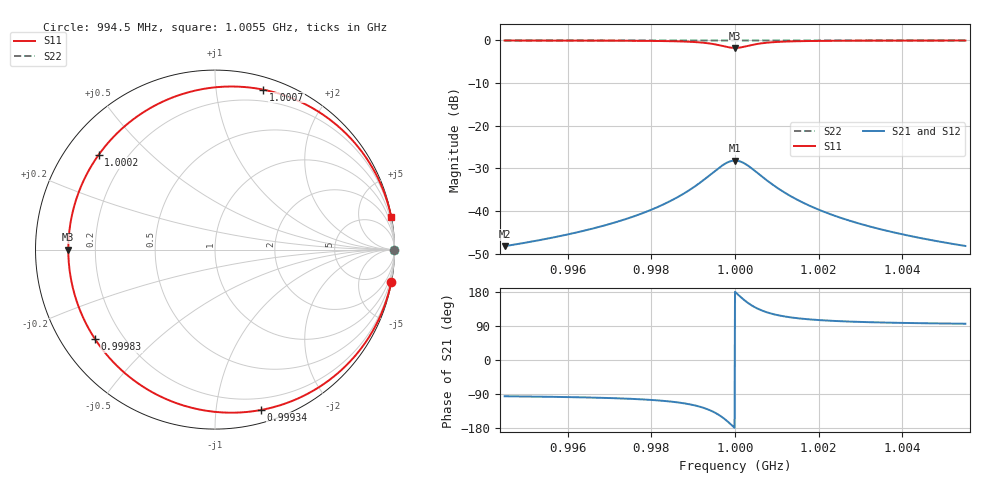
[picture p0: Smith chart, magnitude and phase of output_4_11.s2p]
! File generated for n1 = 4, n2 = 11
! b1 = 10.000000
! b2 = 0.004642
! Q0 = 10000.000000
! f0 = 1000000000.000000
! n = 1001
! rel_span = 10.000000
# Hz S RI R 50
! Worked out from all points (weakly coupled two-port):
!   1001 points, 994.5 MHz to 1.0055 GHz, reference 50 ohm
!   highest |S21| = -28.14 dB at 1 GHz (marker M1); lowest = -48.2 dB at 994.5 MHz (marker M2)
!   lowest |S11| = -1.8 dB at 1 GHz (marker M3), VSWR 9.95, Z = 5.02 + j0 ohm
!   |S11| at or under -10 dB: nowhere
!   |S22| runs from 0.0 to 0.0 dB; largest |S21 - S12| = 0
!   S11 on the Smith chart (normalised r, x): 994.5 MHz: 0, -11; 999.34 MHz: 0.10, -1.32; 999.83 MHz: 0.10, -0.33; 1.0002 GHz: 0.10, +0.35; 1.0007 GHz: 0.10, +1.34; 1.0055 GHz: 0, +11
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9.944977e8  0.9821 -0.1795  -0.000386 -0.00387  -0.000386 -0.00387  1 -8.33e-05
9.963355e8  0.9601 -0.2664  -0.00086 -0.00574  -0.00086 -0.00574  1 -0.000124
9.973809e8  0.9234 -0.3652  -0.00165 -0.00787  -0.00165 -0.00787  1 -0.00017
9.981732e8  0.8491 -0.5015  -0.00325 -0.0108  -0.00325 -0.0108  0.9999 -0.000233
9.988775e8  0.6482 -0.718  -0.00758 -0.0155  -0.00758 -0.0155  0.9998 -0.000333
9.991306e8  0.4805 -0.8211  -0.0112 -0.0177  -0.0112 -0.0177  0.9998 -0.000381
9.993397e8  0.2554 -0.8938  -0.016 -0.0193  -0.016 -0.0193  0.9997 -0.000415
9.996148e8  -0.2196 -0.8539  -0.0263 -0.0184  -0.0263 -0.0184  0.9994 -0.000396
9.997249e8  -0.4539 -0.727  -0.0313 -0.0157  -0.0313 -0.0157  0.9993 -0.000337
9.998349e8  -0.6673 -0.5002  -0.0359 -0.0108  -0.0359 -0.0108  0.9992 -0.000232
1e9  -0.8174 0  -0.0392 0  -0.0392 0  0.9992 0
1.000088e9  -0.7721 0.2835  -0.0382 0.00611  -0.0382 0.00611  0.9992 0.000132
1.000176e9  -0.6486 0.5275  -0.0355 0.0114  -0.0355 0.0114  0.9992 0.000245
1.000275e9  -0.454 0.7269  -0.0313 0.0157  -0.0313 0.0157  0.9993 0.000337
1.000385e9  -0.2199 0.8538  -0.0263 0.0184  -0.0263 0.0184  0.9994 0.000396
1.000506e9  0.0155 0.9055  -0.0212 0.0195  -0.0212 0.0195  0.9995 0.00042
1.000671e9  0.2694 0.8911  -0.0157 0.0192  -0.0157 0.0192  0.9997 0.000414
1.00088e9  0.4892 0.817  -0.011 0.0176  -0.011 0.0176  0.9998 0.000379
1.001133e9  0.6531 0.7142  -0.00747 0.0154  -0.00747 0.0154  0.9998 0.000332
1.001838e9  0.8502 0.4998  -0.00323 0.0108  -0.00323 0.0108  0.9999 0.000232
1.003676e9  0.96 0.2666  -0.000861 0.00574  -0.000861 0.00574  1 0.000124
1.005502e9  0.9819 0.1804  -0.00039 0.00389  -0.00039 0.00389  1 8.37e-05
